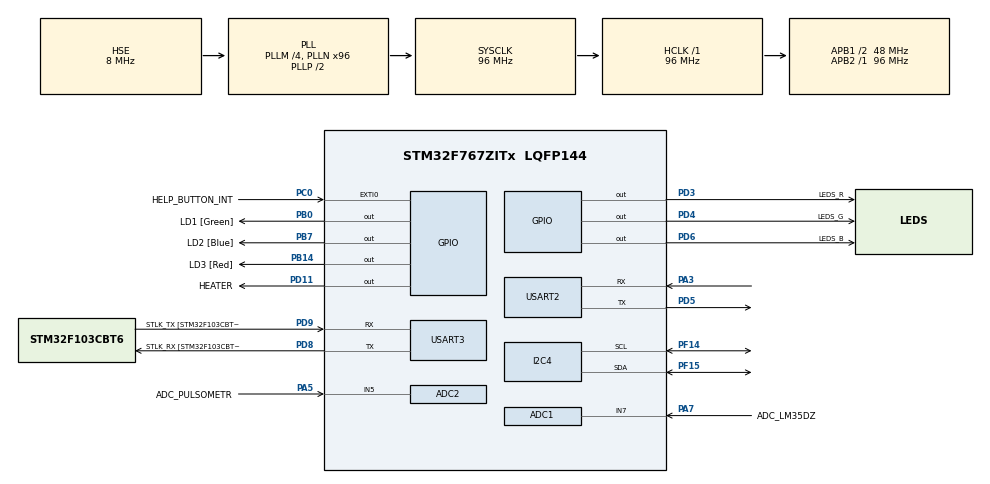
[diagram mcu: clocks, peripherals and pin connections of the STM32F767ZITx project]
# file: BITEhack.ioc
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ADC1.Channel-0\#ChannelRegularConversion=ADC_CHANNEL_7
ADC1.ContinuousConvMode=ENABLE
ADC1.NbrOfConversionFlag=1
ADC1.Rank-0\#ChannelRegularConversion=1
ADC1.SamplingTime-0\#ChannelRegularConversion=ADC_SAMPLETIME_3CYCLES
ADC1.master=1
ADC2.Channel-1\#ChannelRegularConversion=ADC_CHANNEL_5
ADC2.ContinuousConvMode=ENABLE
ADC2.NbrOfConversionFlag=1
ADC2.Rank-1\#ChannelRegularConversion=1
ADC2.SamplingTime-1\#ChannelRegularConversion=ADC_SAMPLETIME_3CYCLES
I2C4.Timing=0x20303E5D
Mcu.Family=STM32F7
Mcu.Name=STM32F767ZITx
Mcu.Package=LQFP144
NVIC.ADC_IRQn=true\:0\:0\:false\:false\:true\:true\:true\:true
NVIC.EXTI0_IRQn=true\:0\:0\:false\:false\:true\:true\:true\:true
NVIC.PriorityGroup=NVIC_PRIORITYGROUP_4
NVIC.TIM1_BRK_TIM9_IRQn=true\:0\:0\:false\:false\:true\:true\:true\:true
NVIC.TIM1_CC_IRQn=true\:0\:0\:false\:false\:true\:true\:true\:true
NVIC.TIM1_TRG_COM_TIM11_IRQn=true\:0\:0\:false\:false\:true\:true\:true\:true
NVIC.TIM1_UP_TIM10_IRQn=true\:0\:0\:false\:false\:true\:true\:true\:true
NVIC.USART3_IRQn=true\:0\:0\:false\:false\:true\:true\:true\:true
PA13.GPIO_Label=TMS
PA13.Mode=Serial_Wire
PA13.Signal=SYS_JTMS-SWDIO
PA14.GPIO_Label=TCK
PA14.Mode=Serial_Wire
PA14.Signal=SYS_JTCK-SWCLK
PA3.Mode=Asynchronous
PA3.Signal=USART2_RX
PA5.GPIO_Label=ADC_PULSOMETR
PA5.Signal=ADCx_IN5
PA7.GPIO_Label=ADC_LM35DZ
PA7.Signal=ADCx_IN7
PB0.GPIO_Label=LD1 [Green]
PB0.Signal=GPIO_Output
PB14.GPIO_Label=LD3 [Red]
PB14.Signal=GPIO_Output
PB7.GPIO_Label=LD2 [Blue]
PB7.Signal=GPIO_Output
PC0.GPIO_Label=HELP_BUTTON_INT
PC0.GPIO_ModeDefaultEXTI=GPIO_MODE_IT_FALLING
PC0.GPIO_PuPd=GPIO_PULLUP
PC0.Signal=GPXTI0
PC14/OSC32_IN.Mode=LSE-External-Oscillator
PC14/OSC32_IN.Signal=RCC_OSC32_IN
PC15/OSC32_OUT.Mode=LSE-External-Oscillator
PC15/OSC32_OUT.Signal=RCC_OSC32_OUT
PD11.GPIO_Label=HEATER
PD11.Signal=GPIO_Output
PD3.GPIO_Label=LEDS_R
PD3.Signal=GPIO_Output
PD4.GPIO_Label=LEDS_G
PD4.Signal=GPIO_Output
PD5.Mode=Asynchronous
PD5.Signal=USART2_TX
PD6.GPIO_Label=LEDS_B
PD6.Signal=GPIO_Output
PD8.GPIO_Label=STLK_RX [STM32F103CBT6_PA3]
PD8.Mode=Asynchronous
PD8.Signal=USART3_TX
PD9.GPIO_Label=STLK_TX [STM32F103CBT6_PA2]
PD9.Mode=Asynchronous
PD9.Signal=USART3_RX
PF14.Mode=I2C
PF14.Signal=I2C4_SCL
PF15.Mode=I2C
PF15.Signal=I2C4_SDA
PH0/OSC_IN.GPIO_Label=MCO [STM32F103CBT6_PA8]
PH0/OSC_IN.Mode=HSE-External-Clock-Source
PH0/OSC_IN.Signal=RCC_OSC_IN
PH1/OSC_OUT.Mode=HSE-External-Clock-Source
PH1/OSC_OUT.Signal=RCC_OSC_OUT
ProjectManager.HeapSize=0x200
ProjectManager.StackSize=0x400
ProjectManager.TargetToolchain=STM32CubeIDE
RCC.48MHZClocksFreq_Value=24000000
RCC.AHBFreq_Value=96000000
RCC.APB1CLKDivider=RCC_HCLK_DIV2
RCC.APB1Freq_Value=48000000
RCC.APB1TimFreq_Value=96000000
RCC.APB2Freq_Value=96000000
RCC.APB2TimFreq_Value=96000000
RCC.CortexFreq_Value=96000000
RCC.HCLKFreq_Value=96000000
RCC.HSE_VALUE=8000000
RCC.HSI_VALUE=16000000
RCC.PLLM=4
RCC.PLLMUL=RCC_PLL_MUL9
RCC.PLLN=96
RCC.PLLQ=4
RCC.PLLSourceVirtual=RCC_PLLSOURCE_HSE
RCC.PRESCALERUSB=RCC_USBCLKSOURCE_PLL_DIV1_5
RCC.SYSCLKFreq_VALUE=96000000
RCC.SYSCLKSource=RCC_SYSCLKSOURCE_PLLCLK
RCC.SYSCLKSourceVirtual=RCC_SYSCLKSOURCE_PLLCLK
RCC.USBFreq_Value=48000000
RCC.VCOOutputFreq_Value=192000000
SH.ADCx_IN5.0=ADC2_IN5,IN5
SH.ADCx_IN7.0=ADC1_IN7,IN7
TIM1.AutoReloadPreload=TIM_AUTORELOAD_PRELOAD_ENABLE
TIM1.CounterMode=TIM_COUNTERMODE_DOWN
TIM1.Period=99
TIM1.Prescaler=9599
USART2.VirtualMode-Asynchronous=VM_ASYNC
USART3.VirtualMode-Asynchronous=VM_ASYNC
VP_TIM1_VS_ClockSourceINT.Mode=Internal
board=NUCLEO-F767ZI

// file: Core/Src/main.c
/* USER CODE BEGIN Header */
/**
  ******************************************************************************
  * @file           : main.c
  * @brief          : Main program body
  ******************************************************************************
  * @attention
  *
  * Copyright (c) 2023 STMicroelectronics.
  * All rights reserved.
  *
  * This software is licensed under terms that can be found in the LICENSE file
  * in the root directory of this software component.
  * If no LICENSE file comes with this software, it is provided AS-IS.
  *
  ******************************************************************************
  */
/* USER CODE END Header */
#include "main.h"
#include "adc.h"
#include "i2c.h"
#include "tim.h"
#include "usart.h"
#include "gpio.h"

/* USER CODE BEGIN Includes */
#include "string.h"
#include "stdint.h"

#include "comm.h"
#include "am2320.h"
#include "lm35dz.h"
#include "lps25hb.h"
/* USER CODE END Includes */

void SystemClock_Config(void);

/* USER CODE BEGIN 0 */

uint8_t start_command[4] = {0xAA, 0xAA, 0xAA, 0xAA};
float humidity, pressure, temperature1, temperature2, temperature3;
volatile uint8_t help_button = 0;

volatile uint16_t adc_buf[200];
volatile uint16_t adc_idx = 0;

static uint32_t current_time = 0U;

volatile uint8_t uart_rx = 0U;
volatile uint32_t sft_cnt = 0;

/* USER CODE END 0 */

int main(void)
{

  /* MCU Configuration--------------------------------------------------------*/

  /* Reset of all peripherals, Initializes the Flash interface and the Systick. */
  HAL_Init();

  /* Configure the system clock */
  SystemClock_Config();

  /* Initialize all configured peripherals */
  MX_GPIO_Init();
  MX_USART3_UART_Init();
  MX_I2C4_Init();
  MX_USART2_UART_Init();
  MX_ADC1_Init();
  MX_ADC2_Init();
  MX_TIM1_Init();
  /* USER CODE BEGIN 2 */

  Lps25hb_Init();
//  Lps25hb_SetCalib(114);
  HAL_TIM_Base_Start_IT(&htim1);
  HAL_UART_Receive_IT(&huart3, &uart_rx, 1);

  current_time = HAL_GetTick();

  /* USER CODE END 2 */

  /* Infinite loop */
  /* USER CODE BEGIN WHILE */
  while (1)
  {

	  while((HAL_GetTick() - current_time) < 2000U);
	  current_time = HAL_GetTick();

	  Am2320_Read(&hi2c4, &humidity, &temperature1);
	  temperature2 = Lm35dz_Read();
	  Lps25hb_Read(&pressure, &temperature3);

	  // Start command
	  Comm_SendBytes(start_command, 4);

	  // Send temperature
	  Comm_SendBytes((uint8_t*)&temperature1, 4);

	  Comm_SendBytes((uint8_t*)&temperature2, 4);

	  Comm_SendBytes((uint8_t*)&temperature3, 4);

	  // Send pressure
	  Comm_SendBytes((uint8_t*)&pressure, 4);

	  // Send humidity
	  Comm_SendBytes((uint8_t*)&humidity, 4);

	  // Send help_button
	  Comm_SendBytes((uint8_t*)&help_button, 1);
	  if(help_button == 1U)
	  {
		  help_button = 0U;
	  }

	  if(sft_cnt > 0U)
	  {
		sft_cnt--;
	  	if(sft_cnt % 2 == 1U)
	  	{
	  		HAL_GPIO_WritePin(LEDS_R_GPIO_Port, LEDS_R_Pin, GPIO_PIN_SET);
	  		HAL_GPIO_WritePin(LEDS_G_GPIO_Port, LEDS_G_Pin, GPIO_PIN_SET);
	  	}
	  	else
	  	{
	  		HAL_GPIO_WritePin(LEDS_R_GPIO_Port, LEDS_R_Pin, GPIO_PIN_SET);
	  		HAL_GPIO_WritePin(LEDS_G_GPIO_Port, LEDS_G_Pin, GPIO_PIN_RESET);

	  	}
	  }
	  else
	  {
		HAL_GPIO_WritePin(LEDS_R_GPIO_Port, LEDS_R_Pin, GPIO_PIN_RESET);
		HAL_GPIO_WritePin(LEDS_G_GPIO_Port, LEDS_G_Pin, GPIO_PIN_RESET);
		sft_cnt = 0U;
	  }

	  if(temperature1 < 30.0f)
	  {
		  HAL_GPIO_WritePin(HEATER_GPIO_Port, HEATER_Pin, GPIO_PIN_SET);
	  }
	  else
	  {
		  HAL_GPIO_WritePin(HEATER_GPIO_Port, HEATER_Pin, GPIO_PIN_RESET);
	  }

	  // Send ADC
	  Comm_SendBytes((uint8_t*)&adc_buf, 400);

    /* USER CODE END WHILE */

  }
}

void SystemClock_Config(void)
{
  RCC_OscInitTypeDef RCC_OscInitStruct = {0};
  RCC_ClkInitTypeDef RCC_ClkInitStruct = {0};

  /** Configure LSE Drive Capability
  */
  HAL_PWR_EnableBkUpAccess();

  /** Configure the main internal regulator output voltage
  */
  __HAL_RCC_PWR_CLK_ENABLE();
  __HAL_PWR_VOLTAGESCALING_CONFIG(PWR_REGULATOR_VOLTAGE_SCALE3);

  /** Initializes the RCC Oscillators according to the specified parameters
  * in the RCC_OscInitTypeDef structure.
  */
  RCC_OscInitStruct.OscillatorType = RCC_OSCILLATORTYPE_HSE;
  RCC_OscInitStruct.HSEState = RCC_HSE_BYPASS;
  RCC_OscInitStruct.PLL.PLLState = RCC_PLL_ON;
  RCC_OscInitStruct.PLL.PLLSource = RCC_PLLSOURCE_HSE;
  RCC_OscInitStruct.PLL.PLLM = 4;
  RCC_OscInitStruct.PLL.PLLN = 96;
  RCC_OscInitStruct.PLL.PLLP = RCC_PLLP_DIV2;
  RCC_OscInitStruct.PLL.PLLQ = 4;
  RCC_OscInitStruct.PLL.PLLR = 2;
  if (HAL_RCC_OscConfig(&RCC_OscInitStruct) != HAL_OK)
  {
    Error_Handler();
  }

  /** Activate the Over-Drive mode
  */
  if (HAL_PWREx_EnableOverDrive() != HAL_OK)
  {
    Error_Handler();
  }

  /** Initializes the CPU, AHB and APB buses clocks
  */
  RCC_ClkInitStruct.ClockType = RCC_CLOCKTYPE_HCLK|RCC_CLOCKTYPE_SYSCLK
                              |RCC_CLOCKTYPE_PCLK1|RCC_CLOCKTYPE_PCLK2;
  RCC_ClkInitStruct.SYSCLKSource = RCC_SYSCLKSOURCE_PLLCLK;
  RCC_ClkInitStruct.AHBCLKDivider = RCC_SYSCLK_DIV1;
  RCC_ClkInitStruct.APB1CLKDivider = RCC_HCLK_DIV2;
  RCC_ClkInitStruct.APB2CLKDivider = RCC_HCLK_DIV1;

  if (HAL_RCC_ClockConfig(&RCC_ClkInitStruct, FLASH_LATENCY_3) != HAL_OK)
  {
    Error_Handler();
  }
}

/* USER CODE BEGIN 4 */
void HAL_GPIO_EXTI_Callback(uint16_t GPIO_Pin)
{
  if(GPIO_Pin == HELP_BUTTON_INT_Pin)
  {
	  HAL_GPIO_WritePin(LEDS_R_GPIO_Port, LEDS_R_Pin, GPIO_PIN_SET);
	  HAL_GPIO_WritePin(LEDS_G_GPIO_Port, LEDS_G_Pin, GPIO_PIN_SET);
	  help_button = 1;
	  sft_cnt = 5;
  }

}

void HAL_TIM_PeriodElapsedCallback(TIM_HandleTypeDef *htim)
{
	if(htim->Instance == TIM1)
	{
		HAL_ADC_Start_IT(&hadc2);
	}
}

void HAL_ADC_ConvCpltCallback(ADC_HandleTypeDef* hadc)
{
	if(adc_idx >= 200U)
	{
		adc_idx = 0U;
	}

	adc_buf[adc_idx] = HAL_ADC_GetValue(&hadc2);
	adc_idx++;
}

void HAL_UART_RxCpltCallback(UART_HandleTypeDef *huart)
{
  if(huart->Instance == USART3)
  {
	  HAL_UART_Receive_IT(&huart3, &uart_rx, 1);
  }
}

/* USER CODE END 4 */

void Error_Handler(void)
{
  __disable_irq();
  while (1)
  {
  }
}
